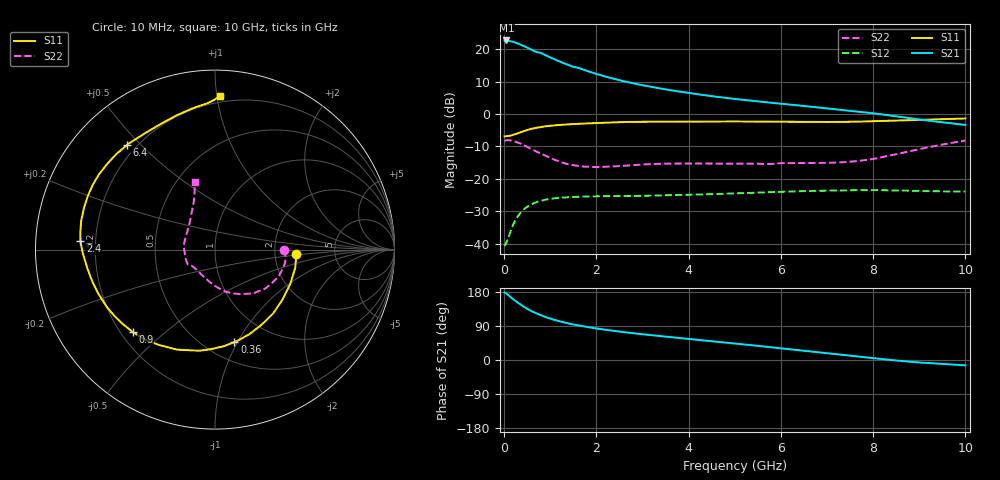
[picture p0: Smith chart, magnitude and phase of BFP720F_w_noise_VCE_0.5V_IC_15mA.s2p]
! Infineon Technologies  Discrete & RF Semiconductors
! BFP720F
! VCE =  0.5 V,  IC =  15 mA
! Common Emitter S-Parameters:  Jan 2016
# GHz  S  MA  R  50
!  f  S11  S21  S12  S22
! GHz  MAG  ANG  MAG  ANG  MAG  ANG  MAG  ANG
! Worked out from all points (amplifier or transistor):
!   233 points, 10 MHz to 10 GHz, reference 50 ohm
!   highest |S21| = 22.8 dB at 50 MHz (marker M1)
!   |S21| within 3 dB of that: start of sweep to 613.6 MHz
!   unconditionally stable (mu >= 1): start of sweep to 332.4 MHz; 1.829 GHz to end of sweep
!   at 200 MHz: K = 1.37, MAG = 24.5 dB, |S12| = -34.0 dB
!   at 1.74 GHz: K = 0.97, MSG = 19.6 dB, |S12| = -25.5 dB
!   at 10 GHz: K = 2.87, MAG = 2.9 dB, |S12| = -24.0 dB
!   lowest NFmin = 0.69 dB at 450 MHz
!   S11 on the Smith chart (normalised r, x): 10 MHz: 2.64, -0.16; 360 MHz: 0.68, -0.97; 900 MHz: 0.25, -0.39; 2.4 GHz: 0.14, +0.03; 6.4 GHz: 0.16, +0.45; 10 GHz: 0.16, +1.02
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0.01  0.4515 -3.0  13.6 177.9  0.0091 4.9  0.3865 -0.2
0.05  0.4586 -12.6  13.77 175.5  0.0104 24.8  0.3978 -6.3
0.1  0.461 -24.8  13.62 170.2  0.0129 36.3  0.3969 -11.0
0.2  0.4813 -47.9  13.06 159.7  0.0199 46.0  0.3841 -23.1
0.3  0.5087 -68.0  12.31 150.7  0.0265 45.5  0.3626 -33.1
0.36  0.5267 -78.2  11.85 145.9  0.0302 44.0  0.3498 -39.4
0.48  0.5625 -95.9  10.84 136.8  0.0362 39.6  0.3175 -50.1
0.6  0.5961 -110.7  9.851 128.4  0.0408 35.3  0.2855 -60.5
0.7  0.6159 -120.3  9.123 122.9  0.0437 32.0  0.2641 -67.6
0.8  0.6345 -127.4  8.799 118.1  0.046 29.1  0.2455 -74.5
0.9  0.6491 -135.0  8.125 113.2  0.0477 26.4  0.2265 -80.6
1.1  0.6716 -146.8  7.005 105.5  0.0502 22.1  0.1963 -92.6
1.3  0.6889 -156.2  6.093 99.1  0.0517 18.7  0.1746 -104.1
1.68  0.7112 -168.4  4.977 89.7  0.0532 14.2  0.1554 -122.1
2  0.7278 -175.5  4.187 83.2  0.0537 11.7  0.152 -134.0
2.4  0.7509 176.5  3.482 76.5  0.0541 9.5  0.1559 -143.6
3.4  0.7648 163.4  2.478 62.8  0.0552 7.3  0.1711 -151.0
5.1  0.7693 145.9  1.687 42.3  0.0598 4.6  0.1718 -157.7
6.4  0.7613 130.3  1.358 25.6  0.0643 0.4  0.1753 169.2
6.8  0.7568 124.5  1.268 20.4  0.0653 -1.2  0.1758 162.5
8.4  0.7932 100.1  0.946 -0.2  0.0663 -8.6  0.2322 125.0
10  0.8577 88.3  0.681 -14.1  0.0634 -11.4  0.3909 106.9
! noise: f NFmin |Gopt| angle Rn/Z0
0.45  0.69  0.24  1  0.47
0.9  0.71  0.18  6  0.15
1.8  0.75  0.16  8  0.15
2.4  0.77  0.14  12  0.13
5.5  0.93  0.11  16  0.08
10  1.1  0.32  -85  0.21
